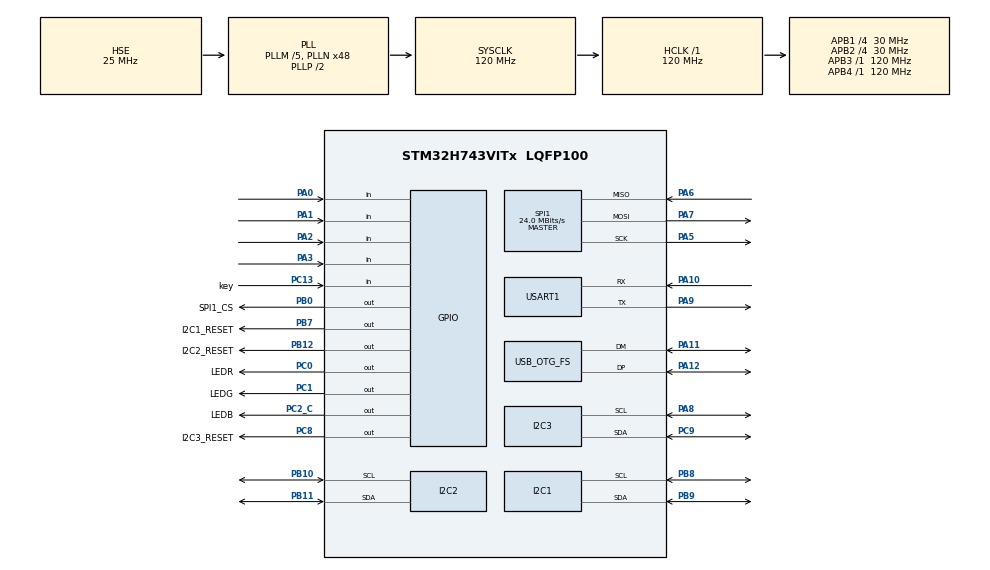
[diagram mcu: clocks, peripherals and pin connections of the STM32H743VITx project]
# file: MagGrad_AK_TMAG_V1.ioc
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CORTEX_M7.default_mode_Activation=1
Dma.I2C1_RX.0.Direction=DMA_PERIPH_TO_MEMORY
Dma.I2C1_RX.0.EventEnable=DISABLE
Dma.I2C1_RX.0.FIFOMode=DMA_FIFOMODE_DISABLE
Dma.I2C1_RX.0.Instance=DMA1_Stream0
Dma.I2C1_RX.0.MemDataAlignment=DMA_MDATAALIGN_BYTE
Dma.I2C1_RX.0.MemInc=DMA_MINC_ENABLE
Dma.I2C1_RX.0.Mode=DMA_NORMAL
Dma.I2C1_RX.0.PeriphDataAlignment=DMA_PDATAALIGN_BYTE
Dma.I2C1_RX.0.PeriphInc=DMA_PINC_DISABLE
Dma.I2C1_RX.0.Polarity=HAL_DMAMUX_REQ_GEN_RISING
Dma.I2C1_RX.0.Priority=DMA_PRIORITY_HIGH
Dma.I2C1_RX.0.RequestNumber=1
Dma.I2C1_RX.0.SignalID=NONE
Dma.I2C1_RX.0.SyncEnable=DISABLE
Dma.I2C1_RX.0.SyncPolarity=HAL_DMAMUX_SYNC_NO_EVENT
Dma.I2C1_RX.0.SyncRequestNumber=1
Dma.I2C1_RX.0.SyncSignalID=NONE
Dma.I2C1_TX.1.Direction=DMA_MEMORY_TO_PERIPH
Dma.I2C1_TX.1.EventEnable=DISABLE
Dma.I2C1_TX.1.FIFOMode=DMA_FIFOMODE_DISABLE
Dma.I2C1_TX.1.Instance=DMA1_Stream1
Dma.I2C1_TX.1.MemDataAlignment=DMA_MDATAALIGN_BYTE
Dma.I2C1_TX.1.MemInc=DMA_MINC_ENABLE
Dma.I2C1_TX.1.Mode=DMA_NORMAL
Dma.I2C1_TX.1.PeriphDataAlignment=DMA_PDATAALIGN_BYTE
Dma.I2C1_TX.1.PeriphInc=DMA_PINC_DISABLE
Dma.I2C1_TX.1.Polarity=HAL_DMAMUX_REQ_GEN_RISING
Dma.I2C1_TX.1.Priority=DMA_PRIORITY_HIGH
Dma.I2C1_TX.1.RequestNumber=1
Dma.I2C1_TX.1.SignalID=NONE
Dma.I2C1_TX.1.SyncEnable=DISABLE
Dma.I2C1_TX.1.SyncPolarity=HAL_DMAMUX_SYNC_NO_EVENT
Dma.I2C1_TX.1.SyncRequestNumber=1
Dma.I2C1_TX.1.SyncSignalID=NONE
Dma.I2C2_RX.2.Direction=DMA_PERIPH_TO_MEMORY
Dma.I2C2_RX.2.EventEnable=DISABLE
Dma.I2C2_RX.2.FIFOMode=DMA_FIFOMODE_DISABLE
Dma.I2C2_RX.2.Instance=DMA1_Stream2
Dma.I2C2_RX.2.MemDataAlignment=DMA_MDATAALIGN_BYTE
Dma.I2C2_RX.2.MemInc=DMA_MINC_ENABLE
Dma.I2C2_RX.2.Mode=DMA_NORMAL
Dma.I2C2_RX.2.PeriphDataAlignment=DMA_PDATAALIGN_BYTE
Dma.I2C2_RX.2.PeriphInc=DMA_PINC_DISABLE
Dma.I2C2_RX.2.Polarity=HAL_DMAMUX_REQ_GEN_RISING
Dma.I2C2_RX.2.Priority=DMA_PRIORITY_HIGH
Dma.I2C2_RX.2.RequestNumber=1
Dma.I2C2_RX.2.SignalID=NONE
Dma.I2C2_RX.2.SyncEnable=DISABLE
Dma.I2C2_RX.2.SyncPolarity=HAL_DMAMUX_SYNC_NO_EVENT
Dma.I2C2_RX.2.SyncRequestNumber=1
Dma.I2C2_RX.2.SyncSignalID=NONE
Dma.I2C2_TX.3.Direction=DMA_MEMORY_TO_PERIPH
Dma.I2C2_TX.3.EventEnable=DISABLE
Dma.I2C2_TX.3.FIFOMode=DMA_FIFOMODE_DISABLE
Dma.I2C2_TX.3.Instance=DMA1_Stream3
Dma.I2C2_TX.3.MemDataAlignment=DMA_MDATAALIGN_BYTE
Dma.I2C2_TX.3.MemInc=DMA_MINC_ENABLE
Dma.I2C2_TX.3.Mode=DMA_NORMAL
Dma.I2C2_TX.3.PeriphDataAlignment=DMA_PDATAALIGN_BYTE
Dma.I2C2_TX.3.PeriphInc=DMA_PINC_DISABLE
Dma.I2C2_TX.3.Polarity=HAL_DMAMUX_REQ_GEN_RISING
Dma.I2C2_TX.3.Priority=DMA_PRIORITY_HIGH
Dma.I2C2_TX.3.RequestNumber=1
Dma.I2C2_TX.3.SignalID=NONE
Dma.I2C2_TX.3.SyncEnable=DISABLE
Dma.I2C2_TX.3.SyncPolarity=HAL_DMAMUX_SYNC_NO_EVENT
Dma.I2C2_TX.3.SyncRequestNumber=1
Dma.I2C2_TX.3.SyncSignalID=NONE
Dma.I2C3_RX.4.Direction=DMA_PERIPH_TO_MEMORY
Dma.I2C3_RX.4.EventEnable=DISABLE
Dma.I2C3_RX.4.FIFOMode=DMA_FIFOMODE_DISABLE
Dma.I2C3_RX.4.Instance=DMA1_Stream4
Dma.I2C3_RX.4.MemDataAlignment=DMA_MDATAALIGN_BYTE
Dma.I2C3_RX.4.MemInc=DMA_MINC_ENABLE
Dma.I2C3_RX.4.Mode=DMA_NORMAL
Dma.I2C3_RX.4.PeriphDataAlignment=DMA_PDATAALIGN_BYTE
Dma.I2C3_RX.4.PeriphInc=DMA_PINC_DISABLE
Dma.I2C3_RX.4.Polarity=HAL_DMAMUX_REQ_GEN_RISING
Dma.I2C3_RX.4.Priority=DMA_PRIORITY_HIGH
Dma.I2C3_RX.4.RequestNumber=1
Dma.I2C3_RX.4.SignalID=NONE
Dma.I2C3_RX.4.SyncEnable=DISABLE
Dma.I2C3_RX.4.SyncPolarity=HAL_DMAMUX_SYNC_NO_EVENT
Dma.I2C3_RX.4.SyncRequestNumber=1
Dma.I2C3_RX.4.SyncSignalID=NONE
Dma.I2C3_TX.5.Direction=DMA_MEMORY_TO_PERIPH
Dma.I2C3_TX.5.EventEnable=DISABLE
Dma.I2C3_TX.5.FIFOMode=DMA_FIFOMODE_DISABLE
Dma.I2C3_TX.5.Instance=DMA1_Stream5
Dma.I2C3_TX.5.MemDataAlignment=DMA_MDATAALIGN_BYTE
Dma.I2C3_TX.5.MemInc=DMA_MINC_ENABLE
Dma.I2C3_TX.5.Mode=DMA_NORMAL
Dma.I2C3_TX.5.PeriphDataAlignment=DMA_PDATAALIGN_BYTE
Dma.I2C3_TX.5.PeriphInc=DMA_PINC_DISABLE
Dma.I2C3_TX.5.Polarity=HAL_DMAMUX_REQ_GEN_RISING
Dma.I2C3_TX.5.Priority=DMA_PRIORITY_HIGH
Dma.I2C3_TX.5.RequestNumber=1
Dma.I2C3_TX.5.SignalID=NONE
Dma.I2C3_TX.5.SyncEnable=DISABLE
Dma.I2C3_TX.5.SyncPolarity=HAL_DMAMUX_SYNC_NO_EVENT
Dma.I2C3_TX.5.SyncRequestNumber=1
Dma.I2C3_TX.5.SyncSignalID=NONE
Dma.Request0=I2C1_RX
Dma.Request1=I2C1_TX
Dma.Request2=I2C2_RX
Dma.Request3=I2C2_TX
Dma.Request4=I2C3_RX
Dma.Request5=I2C3_TX
I2C1.Timing=0x00901227
I2C2.Timing=0x00901227
I2C3.Timing=0x007074AF
Mcu.Family=STM32H7
Mcu.Name=STM32H743VITx
Mcu.Package=LQFP100
NVIC.DMA1_Stream0_IRQn=true\:0\:0\:false\:false\:true\:false\:true\:true
NVIC.DMA1_Stream1_IRQn=true\:0\:0\:false\:false\:true\:false\:true\:true
NVIC.DMA1_Stream2_IRQn=true\:0\:0\:false\:false\:true\:false\:true\:true
NVIC.DMA1_Stream3_IRQn=true\:0\:0\:false\:false\:true\:false\:true\:true
NVIC.DMA1_Stream4_IRQn=true\:0\:0\:false\:false\:true\:false\:true\:true
NVIC.DMA1_Stream5_IRQn=true\:0\:0\:false\:false\:true\:false\:true\:true
NVIC.I2C1_ER_IRQn=true\:0\:0\:false\:false\:true\:true\:true\:true
NVIC.I2C1_EV_IRQn=true\:0\:0\:false\:false\:true\:true\:true\:true
NVIC.I2C2_ER_IRQn=true\:0\:0\:false\:false\:true\:true\:true\:true
NVIC.I2C2_EV_IRQn=true\:0\:0\:false\:false\:true\:true\:true\:true
NVIC.I2C3_ER_IRQn=true\:0\:0\:false\:false\:true\:true\:true\:true
NVIC.I2C3_EV_IRQn=true\:0\:0\:false\:false\:true\:true\:true\:true
NVIC.OTG_FS_IRQn=true\:0\:0\:false\:false\:true\:false\:true\:true
NVIC.PriorityGroup=NVIC_PRIORITYGROUP_4
NVIC.SPI1_IRQn=true\:0\:0\:false\:false\:true\:true\:true\:true
PA0.Signal=GPIO_Input
PA1.Signal=GPIO_Input
PA10.Mode=Asynchronous
PA10.Signal=USART1_RX
PA11.GPIO_Speed=GPIO_SPEED_FREQ_HIGH
PA11.Mode=Device_Only
PA11.Signal=USB_OTG_FS_DM
PA12.GPIO_Speed=GPIO_SPEED_FREQ_HIGH
PA12.Mode=Device_Only
PA12.Signal=USB_OTG_FS_DP
PA2.Signal=GPIO_Input
PA3.Signal=GPIO_Input
PA5.GPIO_Speed=GPIO_SPEED_FREQ_VERY_HIGH
PA5.Mode=Full_Duplex_Master
PA5.Signal=SPI1_SCK
PA6.GPIO_Speed=GPIO_SPEED_FREQ_VERY_HIGH
PA6.Mode=Full_Duplex_Master
PA6.Signal=SPI1_MISO
PA7.GPIO_Speed=GPIO_SPEED_FREQ_VERY_HIGH
PA7.Mode=Full_Duplex_Master
PA7.Signal=SPI1_MOSI
PA8.GPIO_Speed=GPIO_SPEED_FREQ_VERY_HIGH
PA8.Mode=I2C
PA8.Signal=I2C3_SCL
PA9.Mode=Asynchronous
PA9.Signal=USART1_TX
PB0.GPIO_Label=SPI1_CS
PB0.Signal=GPIO_Output
PB10.GPIO_Speed=GPIO_SPEED_FREQ_VERY_HIGH
PB10.Mode=I2C
PB10.Signal=I2C2_SCL
PB11.GPIO_Speed=GPIO_SPEED_FREQ_VERY_HIGH
PB11.Mode=I2C
PB11.Signal=I2C2_SDA
PB12.GPIO_Label=I2C2_RESET
PB12.Signal=GPIO_Output
PB7.GPIO_Label=I2C1_RESET
PB7.Signal=GPIO_Output
PB8.GPIO_Speed=GPIO_SPEED_FREQ_VERY_HIGH
PB8.Mode=I2C
PB8.Signal=I2C1_SCL
PB9.GPIO_Speed=GPIO_SPEED_FREQ_VERY_HIGH
PB9.Mode=I2C
PB9.Signal=I2C1_SDA
PC0.GPIO_Label=LEDR
PC0.Signal=GPIO_Output
PC1.GPIO_Label=LEDG
PC1.Signal=GPIO_Output
PC13.GPIO_Label=key
PC13.Signal=GPIO_Input
PC14-OSC32_IN\ (OSC32_IN).Mode=LSE-External-Oscillator
PC14-OSC32_IN\ (OSC32_IN).Signal=RCC_OSC32_IN
PC15-OSC32_OUT\ (OSC32_OUT).Mode=LSE-External-Oscillator
PC15-OSC32_OUT\ (OSC32_OUT).Signal=RCC_OSC32_OUT
PC2_C.GPIO_Label=LEDB
PC2_C.Signal=GPIO_Output
PC8.GPIO_Label=I2C3_RESET
PC8.Signal=GPIO_Output
PC9.GPIO_Speed=GPIO_SPEED_FREQ_VERY_HIGH
PC9.Mode=I2C
PC9.Signal=I2C3_SDA
PH0-OSC_IN\ (PH0).Mode=HSE-External-Oscillator
PH0-OSC_IN\ (PH0).Signal=RCC_OSC_IN
PH1-OSC_OUT\ (PH1).Mode=HSE-External-Oscillator
PH1-OSC_OUT\ (PH1).Signal=RCC_OSC_OUT
ProjectManager.HeapSize=0x200
ProjectManager.StackSize=0x400
ProjectManager.TargetToolchain=STM32CubeIDE
RCC.ADCFreq_Value=50390625
RCC.APB1Freq_Value=30000000
RCC.APB2Freq_Value=30000000
RCC.APB3Freq_Value=120000000
RCC.APB4Freq_Value=120000000
RCC.CKPERSourceSelection=RCC_CLKPSOURCE_HSE
RCC.CortexFreq_Value=120000000
RCC.D2PPRE1=RCC_APB1_DIV4
RCC.D2PPRE2=RCC_APB2_DIV4
RCC.DIVM1=5
RCC.DIVN1=48
RCC.DIVQ1=5
RCC.HCLKFreq_Value=120000000
RCC.HSE_VALUE=25000000
RCC.PLLFRACN=0
RCC.PLLSourceVirtual=RCC_PLLSOURCE_HSE
RCC.SYSCLKFreq_VALUE=120000000
RCC.SYSCLKSource=RCC_SYSCLKSOURCE_PLLCLK
RCC.USBFreq_Value=48000000
SPI1.BaudRatePrescaler=SPI_BAUDRATEPRESCALER_2
SPI1.CalculateBaudRate=24.0 MBits/s
SPI1.DataSize=SPI_DATASIZE_8BIT
SPI1.Direction=SPI_DIRECTION_2LINES
SPI1.Mode=SPI_MODE_MASTER
SPI1.NSSPMode=SPI_NSS_PULSE_DISABLE
SPI1.VirtualType=VM_MASTER
USART1.VirtualMode-Asynchronous=VM_ASYNC
USB_DEVICE.CLASS_NAME_FS=CDC
USB_DEVICE.VirtualMode-CDC_FS=Cdc
USB_DEVICE.VirtualModeFS=Cdc_FS
USB_OTG_FS.VirtualMode=Device_Only
VP_MEMORYMAP_VS_MEMORYMAP.Mode=CurAppReg
VP_USB_DEVICE_VS_USB_DEVICE_CDC_FS.Mode=CDC_FS
board=custom

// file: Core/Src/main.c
/* USER CODE BEGIN Header */
/**
  ******************************************************************************
  * @file           : main.c
  * @brief          : Main program body
  ******************************************************************************
  * @attention
  *
  * Copyright (c) 2026 STMicroelectronics.
  * All rights reserved.
  *
  * This software is licensed under terms that can be found in the LICENSE file
  * in the root directory of this software component.
  * If no LICENSE file comes with this software, it is provided AS-IS.
  *
  ******************************************************************************
  */
/* USER CODE END Header */
#include "main.h"
#include "dma.h"
#include "i2c.h"
#include "spi.h"
#include "usart.h"
#include "usb_device.h"
#include "gpio.h"

/* USER CODE BEGIN Includes */
#include "icm42670.h"
#include "sensor_ak09973d.h"
#include "sensor_tmag3001.h"
#include "binary_writer.h"
#include <stdio.h>
#include <string.h>
#include <strings.h>
#include <stdlib.h>
#include "usbd_cdc_if.h"
#include "usbd_cdc.h"
/* USER CODE END Includes */

/* USER CODE BEGIN PV */
icm42670_raw_t imu;
icm42670_t icm = {
    .hspi = &hspi1,
    .cs_port = SPI1_CS_GPIO_Port,
    .cs_pin = SPI1_CS_Pin};
/* USER CODE END PV */

void SystemClock_Config(void);
static void MPU_Config(void);

/* USER CODE BEGIN 0 */

#ifndef SENSOR_OUTPUT_ICM
#define SENSOR_OUTPUT_ICM   1
#endif
#ifndef SENSOR_OUTPUT_AK
#define SENSOR_OUTPUT_AK    1
#endif
#ifndef SENSOR_OUTPUT_TMAG
#define SENSOR_OUTPUT_TMAG  1
#endif
#ifndef SENSOR_OUTPUT_FORMAT
#define SENSOR_OUTPUT_FORMAT SENSOR_OUTPUT_FORMAT_BINARY
#endif
#ifndef AK_ARRAY_OUTPUT_HZ
#define AK_ARRAY_OUTPUT_HZ 480U
#endif
#define MAGGRAD_PROJECT_NAME "MagGrad"
#define MAGGRAD_BOARD_NAME "MagGrad_AK_TMAG_V1"
#define MAGGRAD_PROTOCOL_NAME "maggrad_binary_v1"
#define CONT_DEFAULT_HZ AK_ARRAY_OUTPUT_HZ
#define ICM_DEFAULT_HZ 480U
#define TRIG_AUTO_DEFAULT_HZ 100U
#define TRIG_AUTO_MIN_HZ 1U
#define TRIG_AUTO_MAX_HZ 500U
#define RUNTIME_RATE_MIN_HZ 1U
#define RUNTIME_RATE_MAX_HZ 1000U

typedef enum {
    RT_STRATEGY_IDLE = 0,
    RT_STRATEGY_CONT,
    RT_STRATEGY_TRIG,
    RT_STRATEGY_TRIG_AUTO
} runtime_strategy_t;

typedef enum {
    RT_PROFILE_AUTO = 0,
    RT_PROFILE_LOW_NOISE,
    RT_PROFILE_STABLE
} runtime_profile_t;

#define RT_SENSOR_AK   0x01U
#define RT_SENSOR_TMAG 0x02U
#define RT_SENSOR_ICM  0x04U
#define RT_SENSOR_MAG  (RT_SENSOR_AK | RT_SENSOR_TMAG)
#define RT_SENSOR_ALL  (RT_SENSOR_AK | RT_SENSOR_TMAG | RT_SENSOR_ICM)

typedef struct {
    runtime_strategy_t strategy;
    uint8_t sensor_mask;
    uint32_t trigger_hz;
    uint32_t next_trigger_cycle;
    uint32_t next_ak_cycle;
    uint32_t next_icm_cycle;
    uint32_t led_activity_until_ms;
    uint32_t led_error_until_ms;
    uint8_t manual_trigger_pending;
    uint8_t ak_initialized;
    uint8_t tmag_initialized;
    uint8_t icm_initialized;
    uint32_t target_hz;
    uint32_t icm_hz;
    runtime_profile_t requested_profile;
    runtime_profile_t active_profile;
    char profile_status[16];
    char profile_id[40];
    char fallback_from[16];
    char warning[40];
} runtime_state_t;

static runtime_state_t g_rt = {
    .strategy = RT_STRATEGY_IDLE,
    .sensor_mask = 0U,
    .trigger_hz = TRIG_AUTO_DEFAULT_HZ,
    .target_hz = CONT_DEFAULT_HZ,
    .icm_hz = ICM_DEFAULT_HZ,
    .requested_profile = RT_PROFILE_AUTO,
    .active_profile = RT_PROFILE_LOW_NOISE,
    .profile_status = "low_noise",
    .profile_id = "ak_sdr0_odr500",
    .fallback_from = "NONE",
    .warning = "NONE"
};

static uint32_t g_binary_seq = 0U;
static uint32_t g_ak_frames = 0U;
static uint32_t g_tmag_frames = 0U;
static uint32_t g_icm_frames = 0U;
static uint32_t g_skipped = 0U;
static uint32_t g_errors = 0U;
static uint32_t g_last_stats_ms = 0U;
static uint8_t g_ak_active_cntl2 = AK09973D_ACTIVE_CNTL2;
static uint8_t g_tmag_dev_cfg1 = TMAG3001_DEV_CFG1_DEFAULT;
static uint8_t g_tmag_dev_cfg2 = (uint8_t)(TMAG3001_DEV_CFG2_CONTINUOUS | TMAG3001_DEV_CFG2_LOW_NOISE);
static char g_tmag_profile_id[40] = "tmag_lp_ln1_avg8x";
static uint8_t g_tmag_profile_explicit = 0U;

#define LED_ACTIVE GPIO_PIN_RESET
#define LED_INACTIVE GPIO_PIN_SET
#define LED_ACTIVITY_MS 120U
#define LED_ERROR_MS 2000U
#define LED_SELF_TEST_MS 500U

// USB CDC发送字符串
extern USBD_HandleTypeDef hUsbDeviceFS;

static int USB_CDC_IsBusy(void)
{
    USBD_CDC_HandleTypeDef *hcdc = (USBD_CDC_HandleTypeDef *)hUsbDeviceFS.pClassData;
    return (hcdc != NULL && hcdc->TxState != 0U);
}

static void USB_Send_Buffer(const uint8_t *buf, uint16_t len)
{
    uint16_t sent = 0;

    while (sent < len) {
        uint16_t chunk = len - sent;

        uint32_t start = HAL_GetTick();
        while (USB_CDC_IsBusy()) {
            if ((HAL_GetTick() - start) > 100U) {
                return;
            }
        }

        start = HAL_GetTick();
        while (CDC_Transmit_FS((uint8_t *)(buf + sent), chunk) == USBD_BUSY) {
            if ((HAL_GetTick() - start) > 100U) {
                return;
            }
        }

        start = HAL_GetTick();
        while (USB_CDC_IsBusy()) {
            if ((HAL_GetTick() - start) > 100U) {
                return;
            }
        }

        sent += chunk;
    }
}

void USB_Send_Raw(const uint8_t *buf, uint16_t len)
{
    USB_Send_Buffer(buf, len);
}

static void Main_DWT_Init(void)
{
    CoreDebug->DEMCR |= CoreDebug_DEMCR_TRCENA_Msk;
    DWT->CYCCNT = 0;
    DWT->CTRL |= DWT_CTRL_CYCCNTENA_Msk;
}

static int Main_DWT_Due(uint32_t *next_cycle, uint32_t period_cycles)
{
    uint32_t now = DWT->CYCCNT;

    if (*next_cycle == 0U) {
        *next_cycle = now;
    }
    if ((int32_t)(now - *next_cycle) < 0) {
        return 0;
    }

    *next_cycle += period_cycles;
    if ((int32_t)(now - *next_cycle) >= 0) {
        *next_cycle = now + period_cycles;
    }
    return 1;
}

void USB_Send_String(char *str)
{
    size_t len = strlen(str);
    if (len > UINT16_MAX) {
        len = UINT16_MAX;
    }
    USB_Send_Buffer((const uint8_t *)str, (uint16_t)len);
}

static void USB_Send_PrintBuffer(char *ptr, int len)
{
    if (len <= 0) {
        return;
    }
    while (len > 0) {
        uint16_t chunk = (len > UINT16_MAX) ? UINT16_MAX : (uint16_t)len;
        USB_Send_Buffer((const uint8_t *)ptr, chunk);
        ptr += chunk;
        len -= chunk;
    }
}

int _write(int file, char *ptr, int len)
{
    (void)file;
    USB_Send_PrintBuffer(ptr, len);
    HAL_UART_Transmit(&huart1, (uint8_t *)ptr, len, 100);
    return len;
}

static const char *Runtime_StrategyName(runtime_strategy_t strategy)
{
    switch (strategy) {
    case RT_STRATEGY_IDLE:
        return "IDLE";
    case RT_STRATEGY_CONT:
        return "CONT";
    case RT_STRATEGY_TRIG:
        return "TRIG";
    case RT_STRATEGY_TRIG_AUTO:
        return "TRIG_AUTO";
    default:
        return "?";
    }
}

static const char *Runtime_SensorName(uint8_t mask)
{
    switch (mask) {
    case RT_SENSOR_AK:
        return "AK";
    case RT_SENSOR_TMAG:
        return "TMAG";
    case RT_SENSOR_ICM:
        return "ICM";
    case RT_SENSOR_AK | RT_SENSOR_TMAG:
        return "AK_TMAG";
    case RT_SENSOR_AK | RT_SENSOR_ICM:
        return "AK_ICM";
    case RT_SENSOR_TMAG | RT_SENSOR_ICM:
        return "TMAG_ICM";
    case RT_SENSOR_ALL:
        return "ALL";
    case 0U:
        return "NONE";
    default:
        return "CUSTOM";
    }
}

static const char *Runtime_ProfileName(runtime_profile_t profile)
{
    switch (profile) {
    case RT_PROFILE_AUTO:
        return "AUTO";
    case RT_PROFILE_LOW_NOISE:
        return "LOW_NOISE";
    case RT_PROFILE_STABLE:
        return "STABLE";
    default:
        return "?";
    }
}

static void Runtime_SendLine(const char *line)
{
    char out[512];
    int n = snprintf(out, sizeof(out), "%s\r\n", line);
    if (n > 0) {
        USB_Send_String(out);
    }
}

static void Runtime_SetLed(uint8_t red_on, uint8_t green_on, uint8_t blue_on)
{
    HAL_GPIO_WritePin(LEDR_GPIO_Port, LEDR_Pin, red_on ? LED_ACTIVE : LED_INACTIVE);
    HAL_GPIO_WritePin(LEDG_GPIO_Port, LEDG_Pin, green_on ? LED_ACTIVE : LED_INACTIVE);
    HAL_GPIO_WritePin(LEDB_GPIO_Port, LEDB_Pin, blue_on ? LED_ACTIVE : LED_INACTIVE);
}

static void Runtime_LedSelfTest(void)
{
    Runtime_SetLed(1U, 0U, 0U);
    HAL_Delay(LED_SELF_TEST_MS);
    Runtime_SetLed(0U, 1U, 0U);
    HAL_Delay(LED_SELF_TEST_MS);
    Runtime_SetLed(0U, 0U, 1U);
    HAL_Delay(LED_SELF_TEST_MS);
    Runtime_SetLed(0U, 0U, 0U);
}

static void Runtime_MarkActivity(void)
{
    g_rt.led_activity_until_ms = HAL_GetTick() + LED_ACTIVITY_MS;
}

static void Runtime_MarkError(void)
{
    g_rt.led_error_until_ms = HAL_GetTick() + LED_ERROR_MS;
}

static void Runtime_UpdateLed(void)
{
    uint32_t now = HAL_GetTick();

    if ((int32_t)(now - g_rt.led_error_until_ms) < 0) {
        uint8_t on = ((now / 100U) & 1U) == 0U;
        Runtime_SetLed(on, 0U, 0U);
        return;
    }

    if ((int32_t)(now - g_rt.led_activity_until_ms) < 0) {
        Runtime_SetLed(0U, 1U, 0U);
        return;
    }

    switch (g_rt.strategy) {
    case RT_STRATEGY_IDLE:
        Runtime_SetLed(0U, 0U, ((now / 1000U) & 1U) == 0U);
        break;
    case RT_STRATEGY_CONT:
        Runtime_SetLed(0U, 1U, 0U);
        break;
    case RT_STRATEGY_TRIG:
        Runtime_SetLed(0U, 0U, 1U);
        break;
    case RT_STRATEGY_TRIG_AUTO:
        Runtime_SetLed(0U, 1U, 1U);
        break;
    default:
        Runtime_SetLed(1U, 0U, 0U);
        break;
    }
}

static void Runtime_Uppercase(char *s)
{
    while (*s != '\0') {
        if (*s >= 'a' && *s <= 'z') {
            *s = (char)(*s - ('a' - 'A'));
        }
        s++;
    }
}

static int Runtime_ParseSensors(const char *s, uint8_t *mask)
{
    if (strcmp(s, "AK") == 0) {
        *mask = RT_SENSOR_AK;
    } else if (strcmp(s, "TMAG") == 0) {
        *mask = RT_SENSOR_TMAG;
    } else if (strcmp(s, "ICM") == 0) {
        *mask = RT_SENSOR_ICM;
    } else if (strcmp(s, "AK_TMAG") == 0) {
        *mask = RT_SENSOR_AK | RT_SENSOR_TMAG;
    } else if (strcmp(s, "AK_ICM") == 0) {
        *mask = RT_SENSOR_AK | RT_SENSOR_ICM;
    } else if (strcmp(s, "TMAG_ICM") == 0) {
        *mask = RT_SENSOR_TMAG | RT_SENSOR_ICM;
    } else if (strcmp(s, "ALL") == 0) {
        *mask = RT_SENSOR_ALL;
    } else {
        return 0;
    }
    return 1;
}

static int Runtime_ParseHz(const char *s, uint32_t *hz)
{
    char *end = NULL;
    unsigned long v = strtoul(s, &end, 10);

    if (s == end || end == NULL || *end != '\0' ||
        v < RUNTIME_RATE_MIN_HZ || v > RUNTIME_RATE_MAX_HZ) {
        return 0;
    }

    *hz = (uint32_t)v;
    return 1;
}

static int Runtime_ParseProfile(const char *s, runtime_profile_t *profile)
{
    if (strcmp(s, "AUTO") == 0) {
        *profile = RT_PROFILE_AUTO;
    } else if (strcmp(s, "LOW_NOISE") == 0) {
        *profile = RT_PROFILE_LOW_NOISE;
    } else if (strcmp(s, "STABLE") == 0) {
        *profile = RT_PROFILE_STABLE;
    } else {
        return 0;
    }
    return 1;
}

static uint8_t Runtime_TMAGDevCfg1ForAvg(const char *avg)
{
    if (strcasecmp(avg, "avg1x") == 0) {
        return (uint8_t)((TMAG3001_DEV_CFG1_DEFAULT & (uint8_t)~0x1CU) | TMAG3001_DEV_CFG1_CONV_AVG_1X);
    }
    if (strcasecmp(avg, "avg2x") == 0) {
        return (uint8_t)((TMAG3001_DEV_CFG1_DEFAULT & (uint8_t)~0x1CU) | TMAG3001_DEV_CFG1_CONV_AVG_2X);
    }
    if (strcasecmp(avg, "avg4x") == 0) {
        return (uint8_t)((TMAG3001_DEV_CFG1_DEFAULT & (uint8_t)~0x1CU) | TMAG3001_DEV_CFG1_CONV_AVG_4X);
    }
    if (strcasecmp(avg, "avg8x") == 0) {
        return (uint8_t)((TMAG3001_DEV_CFG1_DEFAULT & (uint8_t)~0x1CU) | TMAG3001_DEV_CFG1_CONV_AVG_8X);
    }
    if (strcasecmp(avg, "avg16x") == 0) {
        return (uint8_t)((TMAG3001_DEV_CFG1_DEFAULT & (uint8_t)~0x1CU) | TMAG3001_DEV_CFG1_CONV_AVG_16X);
    }
    return (uint8_t)((TMAG3001_DEV_CFG1_DEFAULT & (uint8_t)~0x1CU) | TMAG3001_DEV_CFG1_CONV_AVG_32X);
}

static int Runtime_ParseTmagProfile(const char *s, runtime_profile_t *profile,
                                    uint8_t *dev_cfg1, uint8_t *dev_cfg2,
                                    const char **profile_id)
{
    const char *avg = NULL;
    int lp_ln = 0;

    if (strncasecmp(s, "tmag_lp_ln1_", 12) == 0) {
        avg = s + 12;
        lp_ln = 1;
        *profile = RT_PROFILE_LOW_NOISE;
    } else if (strncasecmp(s, "TMAG_LP_LN1_", 12) == 0) {
        avg = s + 12;
        lp_ln = 1;
        *profile = RT_PROFILE_LOW_NOISE;
    } else if (strncasecmp(s, "tmag_lc_", 8) == 0) {
        avg = s + 8;
        lp_ln = 0;
        *profile = RT_PROFILE_STABLE;
    } else if (strncasecmp(s, "TMAG_LC_", 8) == 0) {
        avg = s + 8;
        lp_ln = 0;
        *profile = RT_PROFILE_STABLE;
    } else {
        return 0;
    }

    if (strcasecmp(avg, "avg1x") != 0 && strcasecmp(avg, "avg2x") != 0 &&
        strcasecmp(avg, "avg4x") != 0 && strcasecmp(avg, "avg8x") != 0 &&
        strcasecmp(avg, "avg16x") != 0 && strcasecmp(avg, "avg32x") != 0) {
        return 0;
    }

    *dev_cfg1 = Runtime_TMAGDevCfg1ForAvg(avg);
    *dev_cfg2 = (uint8_t)(TMAG3001_DEV_CFG2_CONTINUOUS |
                          (lp_ln ? TMAG3001_DEV_CFG2_LOW_NOISE : TMAG3001_DEV_CFG2_LOW_CURRENT));
    *profile_id = s;
    return 1;
}

static void Runtime_SetTmagAutoProfile(uint32_t hz, runtime_profile_t profile)
{
    int lp_ln = (profile != RT_PROFILE_STABLE);

    (void)hz;

    g_tmag_dev_cfg1 = Runtime_TMAGDevCfg1ForAvg("avg32x");
    g_tmag_dev_cfg2 = (uint8_t)(TMAG3001_DEV_CFG2_CONTINUOUS |
                                (lp_ln ? TMAG3001_DEV_CFG2_LOW_NOISE : TMAG3001_DEV_CFG2_LOW_CURRENT));
    snprintf(g_tmag_profile_id, sizeof(g_tmag_profile_id),
             lp_ln ? "tmag_lp_ln1_avg32x" : "tmag_lc_avg32x");
}

static int Runtime_TmagProfileVerified(const char *profile_id, uint32_t hz)
{
    if (profile_id == NULL) {
        return 0;
    }

    if (strstr(profile_id, "AVG32X") != NULL || strstr(profile_id, "avg32x") != NULL) {
        return hz <= 280U;
    }
    if (strstr(profile_id, "AVG16X") != NULL || strstr(profile_id, "avg16x") != NULL) {
        return hz <= 200U;
    }
    if (strstr(profile_id, "AVG8X") != NULL || strstr(profile_id, "avg8x") != NULL ||
        strstr(profile_id, "AVG4X") != NULL || strstr(profile_id, "avg4x") != NULL ||
        strstr(profile_id, "AVG2X") != NULL || strstr(profile_id, "avg2x") != NULL ||
        strstr(profile_id, "AVG1X") != NULL || strstr(profile_id, "avg1x") != NULL) {
        return hz <= 200U;
    }

    return 0;
}

static void Runtime_ClearWarning(void)
{
    strncpy(g_rt.warning, "NONE", sizeof(g_rt.warning));
    strncpy(g_rt.fallback_from, "NONE", sizeof(g_rt.fallback_from));
    strncpy(g_rt.profile_status, "low_noise", sizeof(g_rt.profile_status));
}

static uint8_t Runtime_AKCntl2ForHz(uint32_t hz, const char **profile_id,
                                    const char **profile_status,
                                    const char **fallback_from,
                                    const char **warning)
{
    *profile_id = "ak_sdr0_odr500";
    *profile_status = "verified";
    *fallback_from = "NONE";
    *warning = "NONE";

    if (hz <= 200U) {
        return AK09973D_MODE_500HZ;
    }
    if (hz <= 500U) {
        *profile_status = "unverified";
        *warning = "RATE_UNVERIFIED";
        return AK09973D_MODE_500HZ;
    }

    *profile_status = "unverified";
    *fallback_from = "ak_sdr0_odr1000";
    *warning = "RATE_UNVERIFIED";
    return AK09973D_MODE_500HZ;
}

static void Runtime_SelectProfile(uint8_t sensor_mask, uint32_t hz)
{
    const char *profile_id = "low_noise_default";
    const char *profile_status = "unverified";
    const char *fallback_from = "NONE";
    const char *warning = "NONE";

    g_rt.active_profile = (g_rt.requested_profile == RT_PROFILE_STABLE)
        ? RT_PROFILE_STABLE
        : RT_PROFILE_LOW_NOISE;

    if ((sensor_mask & RT_SENSOR_AK) != 0U) {
        g_ak_active_cntl2 = Runtime_AKCntl2ForHz(hz, &profile_id, &profile_status,
                                                 &fallback_from, &warning);
    } else if ((sensor_mask & RT_SENSOR_TMAG) != 0U) {
        if (g_tmag_profile_explicit == 0U) {
            Runtime_SetTmagAutoProfile(hz, g_rt.requested_profile);
        }
        profile_id = g_tmag_profile_id;
        if (Runtime_TmagProfileVerified(profile_id, hz)) {
            profile_status = "verified";
            warning = "NONE";
        } else {
            profile_status = "unverified";
            warning = "RATE_UNVERIFIED";
        }
    }

    strncpy(g_rt.profile_id, profile_id, sizeof(g_rt.profile_id));
    strncpy(g_rt.profile_status, profile_status, sizeof(g_rt.profile_status));
    strncpy(g_rt.fallback_from, fallback_from, sizeof(g_rt.fallback_from));
    strncpy(g_rt.warning, warning, sizeof(g_rt.warning));
}

static int Runtime_EnsureSensors(uint8_t sensor_mask, runtime_strategy_t strategy)
{
    int ok = 1;

    if ((sensor_mask & RT_SENSOR_ICM) != 0U && g_rt.icm_initialized == 0U) {
#if SENSOR_OUTPUT_ICM
        if (ICM42670_Init(&icm) == HAL_OK) {
            g_rt.icm_initialized = 1U;
        } else {
            ok = 0;
        }
#else
        ok = 0;
#endif
    }

    if ((sensor_mask & RT_SENSOR_AK) != 0U && g_rt.ak_initialized == 0U) {
#if SENSOR_OUTPUT_AK
        Sensor_AK09973D_Init_All();
        int ak_count = Sensor_AK09973D_GetCount();
        if (ak_count > 0) {
            g_rt.ak_initialized = 1U;
            if (ak_count < AK09973D_COUNT) {
                snprintf(g_rt.warning, sizeof(g_rt.warning), "AK_INIT_PARTIAL");
            }
        } else {
            ok = 0;
        }
#else
        ok = 0;
#endif
    }

    if ((sensor_mask & RT_SENSOR_TMAG) != 0U && g_rt.tmag_initialized == 0U) {
#if SENSOR_OUTPUT_TMAG
        Sensor_TMAG3001_Init_All();
        if (Sensor_TMAG3001_GetCount() > 0) {
            g_rt.tmag_initialized = 1U;
        } else {
            ok = 0;
        }
#else
        ok = 0;
#endif
    }

#if SENSOR_OUTPUT_AK
    if (ok != 0 && (sensor_mask & RT_SENSOR_AK) != 0U && strategy == RT_STRATEGY_CONT) {
        if (Sensor_AK09973D_SetContinuousMode_AllWithCntl2(g_ak_active_cntl2) != HAL_OK) {
            ok = 0;
        }
    }
#endif

#if SENSOR_OUTPUT_TMAG
    if (ok != 0 && (sensor_mask & RT_SENSOR_TMAG) != 0U) {
        HAL_StatusTypeDef status;
        if (strategy == RT_STRATEGY_TRIG || strategy == RT_STRATEGY_TRIG_AUTO) {
            status = Sensor_TMAG3001_SetTriggerProfile_All(g_tmag_dev_cfg1, g_tmag_dev_cfg2);
            if (status != HAL_OK && g_rt.requested_profile != RT_PROFILE_STABLE) {
                uint8_t fallback_cfg2 = (uint8_t)((g_tmag_dev_cfg2 & (uint8_t)~TMAG3001_DEV_CFG2_LOW_NOISE) |
                                                  TMAG3001_DEV_CFG2_LOW_CURRENT);
                status = Sensor_TMAG3001_SetTriggerProfile_All(g_tmag_dev_cfg1, fallback_cfg2);
                if (status == HAL_OK) {
                    g_rt.active_profile = RT_PROFILE_STABLE;
                    strncpy(g_rt.profile_status, "fallback", sizeof(g_rt.profile_status));
                    strncpy(g_rt.fallback_from, g_tmag_profile_id, sizeof(g_rt.fallback_from));
                    strncpy(g_rt.profile_id, "tmag_lc_same_avg", sizeof(g_rt.profile_id));
                    strncpy(g_rt.warning, "TMAG_LP_LN_INIT_FAILED", sizeof(g_rt.warning));
                }
            }
        } else {
            status = Sensor_TMAG3001_SetContinuousProfile_All(g_tmag_dev_cfg1, g_tmag_dev_cfg2);
            if (status != HAL_OK && g_rt.requested_profile != RT_PROFILE_STABLE) {
                uint8_t fallback_cfg2 = (uint8_t)((g_tmag_dev_cfg2 & (uint8_t)~TMAG3001_DEV_CFG2_LOW_NOISE) |
                                                  TMAG3001_DEV_CFG2_LOW_CURRENT);
                status = Sensor_TMAG3001_SetContinuousProfile_All(g_tmag_dev_cfg1, fallback_cfg2);
                if (status == HAL_OK) {
                    g_rt.active_profile = RT_PROFILE_STABLE;
                    strncpy(g_rt.profile_status, "fallback", sizeof(g_rt.profile_status));
                    strncpy(g_rt.fallback_from, g_tmag_profile_id, sizeof(g_rt.fallback_from));
                    strncpy(g_rt.profile_id, "tmag_lc_same_avg", sizeof(g_rt.profile_id));
                    strncpy(g_rt.warning, "TMAG_LP_LN_INIT_FAILED", sizeof(g_rt.warning));
                }
            }
        }
        if (status != HAL_OK) {
            ok = 0;
        }
    }
#endif

    return ok;
}

static void Runtime_SendStatus(void)
{
    char line[384];
    snprintf(line, sizeof(line),
             "OK STATUS strategy=%s sensors=%s mask=0x%02X target_hz=%lu actual_hz=%lu icm_hz=%lu icm_actual_hz=%lu profile=%s profile_id=%s profile_status=%s fallback_from=%s warning=%s init=AK:%u,TMAG:%u,ICM:%u ak_count=%d ak_bitmap=0x%03X frames=AK:%lu,TMAG:%lu,ICM:%lu skipped=%lu errors=%lu",
             Runtime_StrategyName(g_rt.strategy),
             Runtime_SensorName(g_rt.sensor_mask),
             g_rt.sensor_mask,
             (unsigned long)g_rt.target_hz,
             (unsigned long)g_rt.target_hz,
             (unsigned long)g_rt.icm_hz,
             (unsigned long)g_rt.icm_hz,
             Runtime_ProfileName(g_rt.active_profile),
             g_rt.profile_id,
             g_rt.profile_status,
             g_rt.fallback_from,
             g_rt.warning,
             g_rt.ak_initialized,
             g_rt.tmag_initialized,
             g_rt.icm_initialized,
             Sensor_AK09973D_GetCount(),
             (unsigned int)Sensor_AK09973D_GetInitBitmap(),
             (unsigned long)g_ak_frames,
             (unsigned long)g_tmag_frames,
             (unsigned long)g_icm_frames,
             (unsigned long)g_skipped,
             (unsigned long)g_errors);
    Runtime_SendLine(line);
}

static void Runtime_SetIdle(void)
{
    g_rt.strategy = RT_STRATEGY_IDLE;
    g_rt.sensor_mask = 0U;
    g_rt.manual_trigger_pending = 0U;
    g_rt.next_trigger_cycle = 0U;
    g_rt.next_ak_cycle = 0U;
    g_rt.next_icm_cycle = 0U;
}

static void Runtime_SetMode(runtime_strategy_t strategy, uint8_t sensor_mask, uint32_t hz)
{
    g_rt.strategy = strategy;
    g_rt.sensor_mask = sensor_mask;
    g_rt.trigger_hz = hz;
    g_rt.target_hz = hz;
    g_rt.manual_trigger_pending = 0U;
    g_rt.next_trigger_cycle = 0U;
    g_rt.next_ak_cycle = 0U;
    g_rt.next_icm_cycle = 0U;
}

static void Runtime_HandleCommand(char *line)
{
    char *tok[5] = {0};
    int ntok = 0;

    Runtime_Uppercase(line);
    if (strcmp(line, "ERR_OVERFLOW") == 0) {
        Runtime_MarkError();
        Runtime_SendLine("ERR LINE_OVERFLOW");
        return;
    }

    for (char *p = strtok(line, " \t");
         p != NULL && ntok < (int)(sizeof(tok) / sizeof(tok[0]));
         p = strtok(NULL, " \t")) {
        tok[ntok++] = p;
    }

    if (ntok == 0) {
        return;
    }

    if (strcmp(tok[0], "STATUS") == 0) {
        Runtime_SendStatus();
        return;
    }

    if (strcmp(tok[0], "INFO") == 0) {
        Runtime_SendLine("OK INFO project=" MAGGRAD_PROJECT_NAME " board=" MAGGRAD_BOARD_NAME " protocol=" MAGGRAD_PROTOCOL_NAME " sensors=AK,TMAG,ICM");
        return;
    }

    if (strcmp(tok[0], "CAPS") == 0) {
        Runtime_SendLine("OK CAPS profiles=AUTO,LOW_NOISE,STABLE cont_hz=1..1000 trig_auto_hz=1..500 ak=odr500:1..200:verified,odr500:201..500:unverified,odr1000:501..1000:not-default tmag_auto=lp_ln1_avg32x:1..280,lp_ln1_avg32x:281..500:unverified tmag=lp_ln1_avg{1,2,4,8,16,32}x,lc_avg{1,2,4,8,16,32}x icm=low_noise");
        return;
    }

    if (strcmp(tok[0], "PROFILE") == 0) {
        runtime_profile_t profile;
        uint8_t tmag_dev_cfg1 = TMAG3001_DEV_CFG1_DEFAULT;
        uint8_t tmag_dev_cfg2 = (uint8_t)(TMAG3001_DEV_CFG2_CONTINUOUS | TMAG3001_DEV_CFG2_LOW_NOISE);
        const char *tmag_profile_id = NULL;
        const char *reply_profile_id = NULL;
        if (ntok < 2) {
            Runtime_MarkError();
            Runtime_SendLine("ERR BAD_PROFILE");
            return;
        }
        if (Runtime_ParseProfile(tok[1], &profile)) {
            if (profile == RT_PROFILE_STABLE) {
                tmag_dev_cfg2 = (uint8_t)(TMAG3001_DEV_CFG2_CONTINUOUS | TMAG3001_DEV_CFG2_LOW_CURRENT);
                tmag_profile_id = "tmag_lc_avg8x";
            } else {
                tmag_profile_id = "tmag_lp_ln1_avg8x";
            }
            reply_profile_id = tok[1];
            g_tmag_profile_explicit = 0U;
        } else if (!Runtime_ParseTmagProfile(tok[1], &profile, &tmag_dev_cfg1,
                                             &tmag_dev_cfg2, &tmag_profile_id)) {
            Runtime_MarkError();
            Runtime_SendLine("ERR BAD_PROFILE");
            return;
        } else {
            reply_profile_id = tmag_profile_id;
            g_tmag_profile_explicit = 1U;
        }
        g_rt.requested_profile = profile;
        g_tmag_dev_cfg1 = tmag_dev_cfg1;
        g_tmag_dev_cfg2 = tmag_dev_cfg2;
        strncpy(g_tmag_profile_id, tmag_profile_id, sizeof(g_tmag_profile_id));
        Runtime_ClearWarning();
        Runtime_SelectProfile(g_rt.sensor_mask, g_rt.target_hz);
        char out[96];
        snprintf(out, sizeof(out), "OK PROFILE %s", reply_profile_id);
        Runtime_SendLine(out);
        return;
    }

    if (strcmp(tok[0], "MODE") == 0) {
        runtime_strategy_t strategy;
        uint8_t sensor_mask = 0U;
        uint32_t hz = g_rt.trigger_hz;

        if (ntok >= 2 && strcmp(tok[1], "IDLE") == 0) {
            Runtime_SetIdle();
            Runtime_SendLine("OK MODE IDLE");
            return;
        }
        if (ntok < 3) {
            Runtime_MarkError();
            Runtime_SendLine("ERR BAD_MODE");
            return;
        }

        if (strcmp(tok[1], "CONT") == 0) {
            strategy = RT_STRATEGY_CONT;
        } else if (strcmp(tok[1], "TRIG") == 0) {
            strategy = RT_STRATEGY_TRIG;
        } else if (strcmp(tok[1], "TRIG_AUTO") == 0) {
            strategy = RT_STRATEGY_TRIG_AUTO;
            hz = TRIG_AUTO_DEFAULT_HZ;
        } else {
            Runtime_MarkError();
            Runtime_SendLine("ERR BAD_MODE");
            return;
        }

        if (!Runtime_ParseSensors(tok[2], &sensor_mask)) {
            Runtime_MarkError();
            Runtime_SendLine("ERR BAD_SENSOR");
            return;
        }

        if ((strategy == RT_STRATEGY_CONT || strategy == RT_STRATEGY_TRIG_AUTO) && ntok >= 4) {
            if (!Runtime_ParseHz(tok[3], &hz)) {
                Runtime_MarkError();
                Runtime_SendLine("ERR BAD_RATE");
                return;
            }
        }
        if (strategy == RT_STRATEGY_CONT && ntok < 4) {
            hz = g_rt.target_hz;
        }
        if (strategy == RT_STRATEGY_TRIG_AUTO && hz > TRIG_AUTO_MAX_HZ) {
            Runtime_MarkError();
            Runtime_SendLine("ERR BAD_RATE");
            return;
        }

        Runtime_SelectProfile(sensor_mask, hz);
        if (!Runtime_EnsureSensors(sensor_mask, strategy)) {
            Runtime_MarkError();
            Runtime_SendLine("ERR SENSOR_INIT");
            return;
        }

        Runtime_SetMode(strategy, sensor_mask, hz);
        char out[96];
        snprintf(out, sizeof(out), "OK MODE %s %s %lu",
                 Runtime_StrategyName(strategy),
                 Runtime_SensorName(sensor_mask),
                 (unsigned long)g_rt.trigger_hz);
        Runtime_SendLine(out);
        return;
    }

    if (strcmp(tok[0], "RATE") == 0) {
        uint32_t hz;
        if (ntok < 2 || !Runtime_ParseHz(tok[1], &hz)) {
            Runtime_MarkError();
            Runtime_SendLine("ERR BAD_RATE");
            return;
        }
        if (g_rt.strategy == RT_STRATEGY_TRIG) {
            Runtime_MarkError();
            Runtime_SendLine("ERR BAD_MODE");
            return;
        }
        if (g_rt.strategy == RT_STRATEGY_TRIG_AUTO && hz > TRIG_AUTO_MAX_HZ) {
            Runtime_MarkError();
            Runtime_SendLine("ERR BAD_RATE");
            return;
        }
        g_rt.target_hz = hz;
        g_rt.trigger_hz = hz;
        g_rt.next_trigger_cycle = 0U;
        g_rt.next_ak_cycle = 0U;
        Runtime_SelectProfile(g_rt.sensor_mask, hz);
#if SENSOR_OUTPUT_AK
        if (g_rt.strategy == RT_STRATEGY_CONT && (g_rt.sensor_mask & RT_SENSOR_AK) != 0U && g_rt.ak_initialized != 0U) {
            (void)Sensor_AK09973D_SetContinuousMode_AllWithCntl2(g_ak_active_cntl2);
        }
#endif
        char out[48];
        snprintf(out, sizeof(out), "OK RATE %lu", (unsigned long)hz);
        Runtime_SendLine(out);
        return;
    }

    if (strcmp(tok[0], "ICM_RATE") == 0) {
        uint32_t hz;
        if (ntok < 2 || !Runtime_ParseHz(tok[1], &hz)) {
            Runtime_MarkError();
            Runtime_SendLine("ERR BAD_RATE");
            return;
        }
        g_rt.icm_hz = hz;
        g_rt.next_icm_cycle = 0U;
        char out[56];
        snprintf(out, sizeof(out), "OK ICM_RATE %lu", (unsigned long)hz);
        Runtime_SendLine(out);
        return;
    }

    if (strcmp(tok[0], "TRIG") == 0) {
        if (g_rt.strategy != RT_STRATEGY_TRIG && g_rt.strategy != RT_STRATEGY_TRIG_AUTO) {
            Runtime_MarkError();
            Runtime_SendLine("ERR BAD_MODE");
            return;
        }
        if ((g_rt.sensor_mask & RT_SENSOR_MAG) == 0U) {
            Runtime_SendLine("OK NO_MAG_SENSOR");
            return;
        }
        g_rt.manual_trigger_pending = 1U;
        Runtime_SendLine("OK TRIG");
        return;
    }

    Runtime_SendLine("ERR UNKNOWN");
    Runtime_MarkError();
}

static void Runtime_ProcessCommands(void)
{
    char line[128];
    while (USB_CDC_ReadLine(line, sizeof(line)) != 0) {
        Runtime_HandleCommand(line);
    }
}

static void Runtime_ReadICM(uint8_t *binary_frame, size_t binary_frame_size)
{
#if SENSOR_OUTPUT_ICM
    int n = ICM42670_ReadToBinary(&icm, binary_frame, binary_frame_size,
                                  &g_binary_seq, &g_icm_frames, &g_skipped, &g_errors);
    if (n > 0) {
        USB_Send_Raw(binary_frame, (uint16_t)n);
    }
#else
    (void)binary_frame;
    (void)binary_frame_size;
#endif
}

static void Runtime_ReadAKArray(uint8_t *binary_frame, size_t binary_frame_size)
{
#if SENSOR_OUTPUT_AK
    int n = Sensor_AK09973D_ReadArrayToBinary(binary_frame, binary_frame_size,
                                              &g_binary_seq, &g_ak_frames,
                                              &g_skipped, &g_errors);
    if (n > 0) {
        USB_Send_Raw(binary_frame, (uint16_t)n);
    }
#else
    (void)binary_frame;
    (void)binary_frame_size;
#endif
}

static void Runtime_ReadTMAGArray(uint8_t *binary_frame, size_t binary_frame_size)
{
#if SENSOR_OUTPUT_TMAG
    int n = Sensor_TMAG3001_ReadArrayToBinary(binary_frame, binary_frame_size,
                                              &g_binary_seq, &g_tmag_frames,
                                              &g_skipped, &g_errors);
    if (n > 0) {
        USB_Send_Raw(binary_frame, (uint16_t)n);
    }
#else
    (void)binary_frame;
    (void)binary_frame_size;
#endif
}

static void Runtime_TriggerMagAndRead(uint8_t *binary_frame, size_t binary_frame_size)
{
    if ((g_rt.sensor_mask & RT_SENSOR_AK) != 0U) {
#if SENSOR_OUTPUT_AK
        if (Sensor_AK09973D_TriggerSingle_All() != HAL_OK) {
            g_errors++;
            Runtime_MarkError();
        }
        Runtime_ReadAKArray(binary_frame, binary_frame_size);
        if (g_rt.strategy == RT_STRATEGY_TRIG) {
            Runtime_MarkActivity();
        }
#endif
    }

    if ((g_rt.sensor_mask & RT_SENSOR_TMAG) != 0U) {
#if SENSOR_OUTPUT_TMAG
        if (Sensor_TMAG3001_TriggerSingle_All() != HAL_OK) {
            g_errors++;
            Runtime_MarkError();
        }
        Runtime_ReadTMAGArray(binary_frame, binary_frame_size);
        if (g_rt.strategy == RT_STRATEGY_TRIG) {
            Runtime_MarkActivity();
        }
#endif
    }
}

static void Runtime_SendStatsIfDue(uint8_t *binary_frame, size_t binary_frame_size)
{
    uint32_t now = HAL_GetTick();
    if (g_rt.strategy == RT_STRATEGY_IDLE || (now - g_last_stats_ms) < 1000U) {
        return;
    }

    size_t off = 0;
    if (BinaryWriter_AppendStats(binary_frame, binary_frame_size, &off,
                                 g_binary_seq++, now,
                                 g_ak_frames, g_tmag_frames, g_icm_frames,
                                 g_skipped, g_errors)) {
        USB_Send_Raw(binary_frame, (uint16_t)off);
    }
    g_last_stats_ms = now;
}

/* USER CODE END 0 */

int main(void)
{
  /* USER CODE BEGIN 1 */
  // Immediate test - LED GPIO should work even before clock init
  // This confirms firmware is running
  // Note: Can't printf yet - clock not configured
  /* USER CODE END 1 */

  /* MPU Configuration--------------------------------------------------------*/
  MPU_Config();

  /* MCU Configuration--------------------------------------------------------*/

  /* Reset of all peripherals, Initializes the Flash interface and the Systick. */
  HAL_Init();

  /* Configure the system clock */
  SystemClock_Config();
  Main_DWT_Init();

  /* Initialize all configured peripherals */
  MX_GPIO_Init();
  MX_DMA_Init();
  MX_I2C1_Init();
  MX_I2C2_Init();
  MX_SPI1_Init();
  MX_USART1_UART_Init();
  MX_USB_DEVICE_Init();
  MX_I2C3_Init();
  /* USER CODE BEGIN 2 */

  Runtime_SetLed(0U, 0U, 0U);
  Runtime_LedSelfTest();

  HAL_Delay(100);
  HAL_Delay(2000);  // 等待 USB CDC 准备好

  Runtime_SetIdle();
  printf("=== MAG READY IDLE ===\r\n");
  Runtime_SendLine("OK BOOT IDLE");

  /* USER CODE END 2 */

  /* Infinite loop */
  while (1)
  {

    /* USER CODE BEGIN 3 */

	    static uint8_t binary_frame[4096];
#if SENSOR_OUTPUT_FORMAT == SENSOR_OUTPUT_FORMAT_BINARY
    Runtime_ProcessCommands();

    if (g_rt.strategy != RT_STRATEGY_IDLE &&
        (g_rt.sensor_mask & RT_SENSOR_ICM) != 0U &&
        Main_DWT_Due(&g_rt.next_icm_cycle, SystemCoreClock / g_rt.icm_hz)) {
        Runtime_ReadICM(binary_frame, sizeof(binary_frame));
    }

    if (g_rt.strategy == RT_STRATEGY_CONT) {
        if ((g_rt.sensor_mask & RT_SENSOR_AK) != 0U &&
            Main_DWT_Due(&g_rt.next_ak_cycle, SystemCoreClock / g_rt.target_hz)) {
            Runtime_ReadAKArray(binary_frame, sizeof(binary_frame));
        }
        if ((g_rt.sensor_mask & RT_SENSOR_TMAG) != 0U &&
            Main_DWT_Due(&g_rt.next_trigger_cycle, SystemCoreClock / g_rt.target_hz)) {
            Runtime_ReadTMAGArray(binary_frame, sizeof(binary_frame));
        }
    } else if (g_rt.strategy == RT_STRATEGY_TRIG) {
        if (g_rt.manual_trigger_pending != 0U) {
            g_rt.manual_trigger_pending = 0U;
            Runtime_TriggerMagAndRead(binary_frame, sizeof(binary_frame));
        }
    } else if (g_rt.strategy == RT_STRATEGY_TRIG_AUTO) {
        uint32_t period_cycles = SystemCoreClock / g_rt.trigger_hz;
        if (g_rt.manual_trigger_pending != 0U ||
            Main_DWT_Due(&g_rt.next_trigger_cycle, period_cycles)) {
            g_rt.manual_trigger_pending = 0U;
            Runtime_TriggerMagAndRead(binary_frame, sizeof(binary_frame));
        }
    }

    Runtime_SendStatsIfDue(binary_frame, sizeof(binary_frame));

#else
    Runtime_ProcessCommands();
#endif

    Runtime_UpdateLed();

    /* USER CODE END 3 */
  }
}

void SystemClock_Config(void)
{
  RCC_OscInitTypeDef RCC_OscInitStruct = {0};
  RCC_ClkInitTypeDef RCC_ClkInitStruct = {0};

  /** Supply configuration update enable
  */
  HAL_PWREx_ConfigSupply(PWR_LDO_SUPPLY);

  /** Configure the main internal regulator output voltage
  */
  __HAL_PWR_VOLTAGESCALING_CONFIG(PWR_REGULATOR_VOLTAGE_SCALE3);

  while(!__HAL_PWR_GET_FLAG(PWR_FLAG_VOSRDY)) {}

  /** Initializes the RCC Oscillators according to the specified parameters
  * in the RCC_OscInitTypeDef structure.
  */
  RCC_OscInitStruct.OscillatorType = RCC_OSCILLATORTYPE_HSE;
  RCC_OscInitStruct.HSEState = RCC_HSE_ON;
  RCC_OscInitStruct.PLL.PLLState = RCC_PLL_ON;
  RCC_OscInitStruct.PLL.PLLSource = RCC_PLLSOURCE_HSE;
  RCC_OscInitStruct.PLL.PLLM = 5;
  RCC_OscInitStruct.PLL.PLLN = 48;
  RCC_OscInitStruct.PLL.PLLP = 2;
  RCC_OscInitStruct.PLL.PLLQ = 5;
  RCC_OscInitStruct.PLL.PLLR = 2;
  RCC_OscInitStruct.PLL.PLLRGE = RCC_PLL1VCIRANGE_2;
  RCC_OscInitStruct.PLL.PLLVCOSEL = RCC_PLL1VCOWIDE;
  RCC_OscInitStruct.PLL.PLLFRACN = 0;
  if (HAL_RCC_OscConfig(&RCC_OscInitStruct) != HAL_OK)
  {
    Error_Handler();
  }

  /** Initializes the CPU, AHB and APB buses clocks
  */
  RCC_ClkInitStruct.ClockType = RCC_CLOCKTYPE_HCLK|RCC_CLOCKTYPE_SYSCLK
                              |RCC_CLOCKTYPE_PCLK1|RCC_CLOCKTYPE_PCLK2
                              |RCC_CLOCKTYPE_D3PCLK1|RCC_CLOCKTYPE_D1PCLK1;
  RCC_ClkInitStruct.SYSCLKSource = RCC_SYSCLKSOURCE_PLLCLK;
  RCC_ClkInitStruct.SYSCLKDivider = RCC_SYSCLK_DIV1;
  RCC_ClkInitStruct.AHBCLKDivider = RCC_HCLK_DIV1;
  RCC_ClkInitStruct.APB3CLKDivider = RCC_APB3_DIV1;
  RCC_ClkInitStruct.APB1CLKDivider = RCC_APB1_DIV4;
  RCC_ClkInitStruct.APB2CLKDivider = RCC_APB2_DIV4;
  RCC_ClkInitStruct.APB4CLKDivider = RCC_APB4_DIV1;

  if (HAL_RCC_ClockConfig(&RCC_ClkInitStruct, FLASH_LATENCY_2) != HAL_OK)
  {
    Error_Handler();
  }
}

 /* MPU Configuration */

void MPU_Config(void)
{
  MPU_Region_InitTypeDef MPU_InitStruct = {0};

  /* Disables the MPU */
  HAL_MPU_Disable();

  /** Initializes and configures the Region and the memory to be protected
  */
  MPU_InitStruct.Enable = MPU_REGION_ENABLE;
  MPU_InitStruct.Number = MPU_REGION_NUMBER0;
  MPU_InitStruct.BaseAddress = 0x0;
  MPU_InitStruct.Size = MPU_REGION_SIZE_4GB;
  MPU_InitStruct.SubRegionDisable = 0x87;
  MPU_InitStruct.TypeExtField = MPU_TEX_LEVEL0;
  MPU_InitStruct.AccessPermission = MPU_REGION_NO_ACCESS;
  MPU_InitStruct.DisableExec = MPU_INSTRUCTION_ACCESS_DISABLE;
  MPU_InitStruct.IsShareable = MPU_ACCESS_SHAREABLE;
  MPU_InitStruct.IsCacheable = MPU_ACCESS_NOT_CACHEABLE;
  MPU_InitStruct.IsBufferable = MPU_ACCESS_NOT_BUFFERABLE;

  HAL_MPU_ConfigRegion(&MPU_InitStruct);
  /* Enables the MPU */
  HAL_MPU_Enable(MPU_PRIVILEGED_DEFAULT);

}

void Error_Handler(void)
{
  __disable_irq();
  while (1)
  {
  }
}
